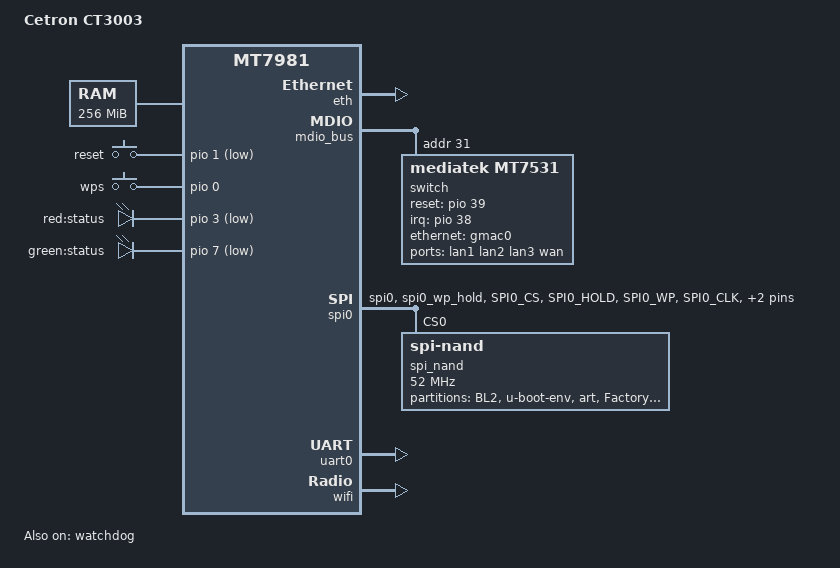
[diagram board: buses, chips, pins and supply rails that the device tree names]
// SPDX-License-Identifier: GPL-2.0-or-later OR MIT

/dts-v1/;
#include <dt-bindings/gpio/gpio.h>
#include <dt-bindings/input/input.h>

#include "mt7981.dtsi"

/ {
	model = "Cetron CT3003";
	compatible = "cetron,ct3003", "mediatek,mt7981";

	aliases {
		serial0 = &uart0;
		led-boot = &led_status_red;
		led-failsafe = &led_status_red;
		led-running = &led_status_green;
		led-upgrade = &led_status_green;
	};

	chosen {
		stdout-path = "serial0:115200n8";
	};

	memory {
		reg = <0 0x40000000 0 0x10000000>;
	};

	gpio-keys {
		compatible = "gpio-keys";

		reset {
			label = "reset";
			linux,code = <KEY_RESTART>;
			gpios = <&pio 1 GPIO_ACTIVE_LOW>;
		};

		wps {
			label = "wps";
			linux,code = <KEY_WPS_BUTTON>;
			gpios = <&pio 0 GPIO_ACTIVE_HIGH>;
		};
	};

	leds {
		compatible = "gpio-leds";

		led_status_red: led_status_red {
			label = "red:status";
			gpios = <&pio 3 GPIO_ACTIVE_LOW>;
		};

		led_status_green: led_status_green {
			label = "green:status";
			gpios = <&pio 7 GPIO_ACTIVE_LOW>;
		};
	};
};

&eth {
	status = "okay";

	gmac0: mac@0 {
		compatible = "mediatek,eth-mac";
		reg = <0>;
		phy-mode = "2500base-x";

		nvmem-cells = <&macaddr_art_0>;
		nvmem-cell-names = "mac-address";

		fixed-link {
			speed = <2500>;
			full-duplex;
			pause;
		};
	};
};

&mdio_bus {
	switch: switch@0 {
		compatible = "mediatek,mt7531";
		reg = <31>;
		reset-gpios = <&pio 39 GPIO_ACTIVE_HIGH>;
		interrupt-controller;
		#interrupt-cells = <1>;
		interrupt-parent = <&pio>;
		interrupts = <38 IRQ_TYPE_LEVEL_HIGH>;
	};
};

&spi0 {
	pinctrl-names = "default";
	pinctrl-0 = <&spi0_flash_pins>;
	status = "okay";

	spi_nand@0 {
		compatible = "spi-nand";
		#address-cells = <1>;
		#size-cells = <1>;
		reg = <0>;

		spi-max-frequency = <52000000>;
		spi-tx-bus-width = <4>;
		spi-rx-bus-width = <4>;

		mediatek,nmbm;
		mediatek,bmt-max-ratio = <1>;
		mediatek,bmt-max-reserved-blocks = <64>;

		partitions {
			compatible = "fixed-partitions";
			#address-cells = <1>;
			#size-cells = <1>;

			partition@0 {
				label = "BL2";
				reg = <0x0000000 0x0100000>;
				read-only;
			};

			partition@100000 {
				label = "u-boot-env";
				reg = <0x0100000 0x0080000>;
			};

			partition@180000 {
				label = "art";
				reg = <0x0180000 0x0100000>;
				read-only;

				compatible = "nvmem-cells";
				#address-cells = <1>;
				#size-cells = <1>;

				macaddr_art_0: macaddr@0 {
					reg = <0x0 0x6>;
				};
			};

			factory: partition@280000 {
				label = "Factory";
				reg = <0x0280000 0x0100000>;
				read-only;
			};

			partition@380000 {
				label = "FIP";
				reg = <0x0380000 0x0200000>;
				read-only;
			};

			partition@580000 {
				label = "ubi";
				reg = <0x0580000 0x2000000>;
			};

			partition@2580000 {
				label = "ubi_backup";
				reg = <0x2580000 0x2000000>;
			};

			partition@4580000 {
				label = "Config_backup";
				reg = <0x4580000 0x0400000>;
			};
		};
	};
};

&switch {
	ports {
		#address-cells = <1>;
		#size-cells = <0>;

		port@0 {
			reg = <0>;
			label = "lan1";
		};

		port@1 {
			reg = <1>;
			label = "lan2";
		};

		port@2 {
			reg = <2>;
			label = "lan3";
		};

		port@3 {
			reg = <3>;
			label = "wan";
			nvmem-cells = <&macaddr_art_0>;
			nvmem-cell-names = "mac-address";
			mac-address-increment = <3>;
		};

		port@6 {
			reg = <6>;
			ethernet = <&gmac0>;
			phy-mode = "2500base-x";

			fixed-link {
				speed = <2500>;
				full-duplex;
				pause;
			};
		};
	};
};

&pio {
	spi0_flash_pins: spi0-pins {
		mux {
			function = "spi";
			groups = "spi0", "spi0_wp_hold";
		};

		conf-pu {
			pins = "SPI0_CS", "SPI0_HOLD", "SPI0_WP";
			drive-strength = <MTK_DRIVE_8mA>;
			bias-pull-up = <MTK_PUPD_SET_R1R0_11>;
		};

		conf-pd {
			pins = "SPI0_CLK", "SPI0_MOSI", "SPI0_MISO";
			drive-strength = <MTK_DRIVE_8mA>;
			bias-pull-down = <MTK_PUPD_SET_R1R0_11>;
		};
	};
};

&uart0 {
	status = "okay";
};

&watchdog {
	status = "okay";
};

&wifi {
	status = "okay";

	mediatek,mtd-eeprom = <&factory 0x0>;
};
